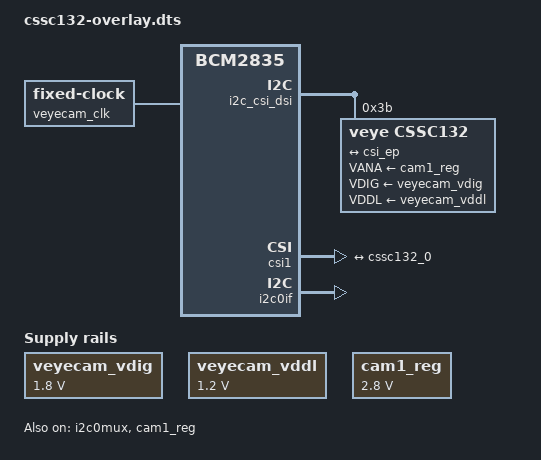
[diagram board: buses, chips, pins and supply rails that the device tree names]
// SPDX-License-Identifier: GPL-2.0-only
// Definitions for CS-MIPI-SC132 camera module on VC I2C bus
/dts-v1/;
/plugin/;

/{
	compatible = "brcm,bcm2835";
    
    fragment@0 {
		target = <&i2c_csi_dsi>;
		__overlay__ {
			#address-cells = <1>;
			#size-cells = <0>;
			status = "okay";

			cssc132: cssc132@3b {
				compatible = "veye,cssc132";
				reg = <0x3b>;
				status = "okay";

				clocks = <&veyecam_clk>;
				clock-names = "xclk";

				VANA-supply = <&cam1_reg>;	/* 2.8v */
				VDIG-supply = <&veyecam_vdig>;	/* 1.8v */
				VDDL-supply = <&veyecam_vddl>;	/* 1.2v */
				rotation = <0>;
                orientation = <2>;
				port {
					cssc132_0: endpoint {
						remote-endpoint = <&csi_ep>;
						clock-lanes = <0>;
						data-lanes = <1 2>;
						clock-noncontinuous;
						link-frequencies =
							/bits/ 64 <297000000>;
					};
				};
			};
		};
	};
    fragment@1 {
		target = <&csi1>;
		__overlay__ {
			status = "okay";

			port {
				csi_ep: endpoint {
					remote-endpoint = <&cssc132_0>;
					clock-lanes = <0>;
					data-lanes = <1 2>;
					clock-noncontinuous;
				};
			};
		};
	};
    
	fragment@2 {
		target = <&i2c0if>;
		__overlay__ {
			status = "okay";
		};
	};
    
    fragment@3 {
			target-path="/";
			__overlay__ {

				veyecam_vdig: fixedregulator@1 {
					compatible = "regulator-fixed";
					regulator-name = "veyecam_vdig";
					regulator-min-microvolt = <1800000>;
					regulator-max-microvolt = <1800000>;
				};
				veyecam_vddl: fixedregulator@2 {
					compatible = "regulator-fixed";
					regulator-name = "veyecam_vddl";
					regulator-min-microvolt = <1200000>;
					regulator-max-microvolt = <1200000>;
				};
               
				veyecam_clk: camera-clk {
					compatible = "fixed-clock";
					#clock-cells = <0>;
					clock-frequency = <24000000>;
				};
			};
		};
        
	fragment@4 {
		target = <&i2c0mux>;
		__overlay__ {
			status = "okay";
		};
	};

	fragment@5 {
		target = <&cam1_reg>;
		__overlay__ {
			status = "okay";
			regulator-name = "veyecam_vana";
			regulator-min-microvolt = <2800000>;
			regulator-max-microvolt = <2800000>;
		};
	};

	__overrides__ {
		rotation = <&cssc132>,"rotation:0";
		orientation = <&cssc132>,"orientation:0";
	};
	
    
};
